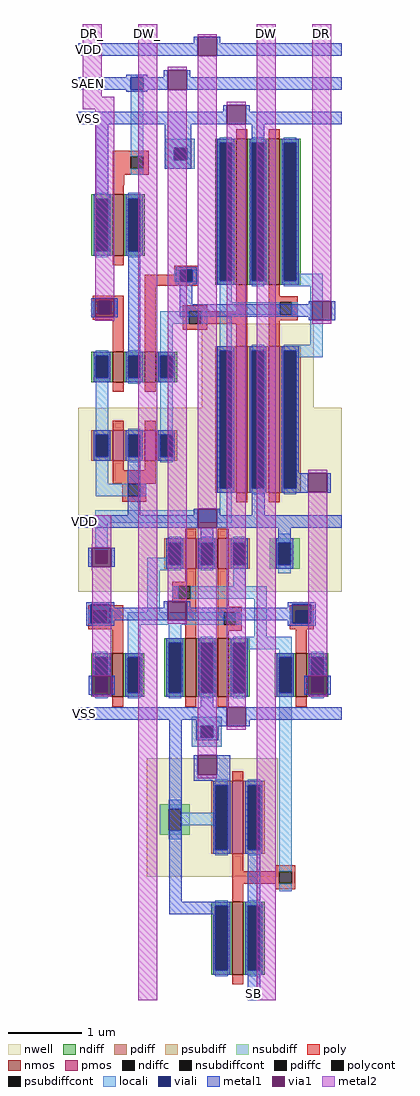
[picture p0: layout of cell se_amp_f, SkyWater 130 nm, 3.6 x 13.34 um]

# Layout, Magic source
magic
tech sky130A
magscale 1 2
<< nwell >>
rect 338 1619 644 1848
rect 0 1116 720 1619
rect 187 337 545 661
<< nmos >>
rect 94 2034 124 2202
rect 432 1954 462 2354
rect 520 1954 550 2354
rect 94 1688 124 1772
rect 182 1688 212 1772
rect 93 828 123 948
rect 293 828 323 988
rect 381 828 411 988
rect 595 828 625 948
rect 421 69 451 269
<< pmos >>
rect 94 1473 124 1557
rect 182 1473 212 1557
rect 432 1386 462 1786
rect 520 1386 550 1786
rect 293 1178 323 1262
rect 381 1178 411 1262
rect 421 399 451 599
<< ndiff >>
rect 374 2342 432 2354
rect 36 2190 94 2202
rect 36 2046 48 2190
rect 82 2046 94 2190
rect 36 2034 94 2046
rect 124 2190 182 2202
rect 124 2046 136 2190
rect 170 2046 182 2190
rect 124 2034 182 2046
rect 374 1966 386 2342
rect 420 1966 432 2342
rect 374 1954 432 1966
rect 462 2342 520 2354
rect 462 1966 474 2342
rect 508 1966 520 2342
rect 462 1954 520 1966
rect 550 2342 608 2354
rect 550 1966 562 2342
rect 596 1966 608 2342
rect 550 1954 608 1966
rect 36 1760 94 1772
rect 36 1700 48 1760
rect 82 1700 94 1760
rect 36 1688 94 1700
rect 124 1760 182 1772
rect 124 1700 136 1760
rect 170 1700 182 1760
rect 124 1688 182 1700
rect 212 1760 270 1772
rect 212 1700 224 1760
rect 258 1700 270 1760
rect 212 1688 270 1700
rect 235 976 293 988
rect 35 936 93 948
rect 35 840 47 936
rect 81 840 93 936
rect 35 828 93 840
rect 123 936 181 948
rect 123 840 135 936
rect 169 840 181 936
rect 123 828 181 840
rect 235 840 247 976
rect 281 840 293 976
rect 235 828 293 840
rect 323 976 381 988
rect 323 840 335 976
rect 369 840 381 976
rect 323 828 381 840
rect 411 976 469 988
rect 411 840 423 976
rect 457 840 469 976
rect 411 828 469 840
rect 537 936 595 948
rect 537 840 549 936
rect 583 840 595 936
rect 537 828 595 840
rect 625 936 683 948
rect 625 840 637 936
rect 671 840 683 936
rect 625 828 683 840
rect 363 257 421 269
rect 363 81 375 257
rect 409 81 421 257
rect 363 69 421 81
rect 451 257 509 269
rect 451 81 463 257
rect 497 81 509 257
rect 451 69 509 81
<< pdiff >>
rect 374 1774 432 1786
rect 36 1545 94 1557
rect 36 1485 48 1545
rect 82 1485 94 1545
rect 36 1473 94 1485
rect 124 1545 182 1557
rect 124 1485 136 1545
rect 170 1485 182 1545
rect 124 1473 182 1485
rect 212 1545 270 1557
rect 212 1485 224 1545
rect 258 1485 270 1545
rect 212 1473 270 1485
rect 374 1398 386 1774
rect 420 1398 432 1774
rect 374 1386 432 1398
rect 462 1774 520 1786
rect 462 1398 474 1774
rect 508 1398 520 1774
rect 462 1386 520 1398
rect 550 1774 608 1786
rect 550 1398 562 1774
rect 596 1398 608 1774
rect 550 1386 608 1398
rect 235 1250 293 1262
rect 235 1190 247 1250
rect 281 1190 293 1250
rect 235 1178 293 1190
rect 323 1250 381 1262
rect 323 1190 335 1250
rect 369 1190 381 1250
rect 323 1178 381 1190
rect 411 1250 469 1262
rect 411 1190 423 1250
rect 457 1190 469 1250
rect 411 1178 469 1190
rect 363 587 421 599
rect 363 411 375 587
rect 409 411 421 587
rect 363 399 421 411
rect 451 587 509 599
rect 451 411 463 587
rect 497 411 509 587
rect 451 399 509 411
<< ndiffc >>
rect 48 2046 82 2190
rect 136 2046 170 2190
rect 386 1966 420 2342
rect 474 1966 508 2342
rect 562 1966 596 2342
rect 48 1700 82 1760
rect 136 1700 170 1760
rect 224 1700 258 1760
rect 47 840 81 936
rect 135 840 169 936
rect 247 840 281 976
rect 335 840 369 976
rect 423 840 457 976
rect 549 840 583 936
rect 637 840 671 936
rect 375 81 409 257
rect 463 81 497 257
<< pdiffc >>
rect 48 1485 82 1545
rect 136 1485 170 1545
rect 224 1485 258 1545
rect 386 1398 420 1774
rect 474 1398 508 1774
rect 562 1398 596 1774
rect 247 1190 281 1250
rect 335 1190 369 1250
rect 423 1190 457 1250
rect 375 411 409 587
rect 463 411 497 587
<< psubdiff >>
rect 237 2329 319 2353
rect 237 2295 262 2329
rect 296 2295 319 2329
rect 237 2271 319 2295
rect 310 750 392 774
rect 310 716 335 750
rect 369 716 392 750
rect 310 692 392 716
<< nsubdiff >>
rect 523 1250 605 1262
rect 523 1190 547 1250
rect 581 1190 605 1250
rect 523 1178 605 1190
rect 223 523 305 535
rect 223 463 247 523
rect 281 463 305 523
rect 223 451 305 463
<< psubdiffcont >>
rect 262 2295 296 2329
rect 335 716 369 750
<< nsubdiffcont >>
rect 547 1190 581 1250
rect 247 463 281 523
<< poly >>
rect 432 2354 462 2380
rect 520 2354 550 2380
rect 94 2305 193 2321
rect 94 2271 143 2305
rect 177 2271 193 2305
rect 94 2255 193 2271
rect 94 2228 125 2255
rect 94 2202 124 2228
rect 94 2008 124 2034
rect 262 1996 328 2007
rect 262 1982 278 1996
rect 182 1962 278 1982
rect 312 1962 328 1996
rect 182 1952 328 1962
rect 39 1909 124 1925
rect 39 1875 55 1909
rect 89 1875 124 1909
rect 39 1859 124 1875
rect 94 1772 124 1859
rect 182 1772 212 1952
rect 286 1882 352 1898
rect 432 1882 462 1954
rect 286 1848 302 1882
rect 336 1848 462 1882
rect 286 1832 352 1848
rect 432 1786 462 1848
rect 520 1923 550 1954
rect 520 1907 600 1923
rect 520 1873 550 1907
rect 584 1873 600 1907
rect 520 1858 600 1873
rect 520 1786 550 1858
rect 94 1662 124 1688
rect 182 1662 212 1688
rect 94 1557 124 1583
rect 182 1557 212 1583
rect 94 1447 124 1473
rect 182 1447 212 1473
rect 94 1411 212 1447
rect 120 1377 136 1411
rect 170 1377 186 1411
rect 120 1361 186 1377
rect 432 1360 462 1386
rect 520 1360 550 1386
rect 293 1262 323 1288
rect 381 1262 411 1288
rect 293 1143 323 1178
rect 257 1131 323 1143
rect 257 1097 273 1131
rect 307 1097 323 1131
rect 257 1086 323 1097
rect 27 1063 123 1079
rect 27 1029 43 1063
rect 77 1029 123 1063
rect 27 1013 123 1029
rect 93 948 123 1013
rect 293 988 323 1086
rect 381 1075 411 1178
rect 381 1060 447 1075
rect 381 1026 397 1060
rect 431 1026 447 1060
rect 381 1009 447 1026
rect 578 1063 644 1079
rect 578 1029 594 1063
rect 628 1029 644 1063
rect 578 1013 644 1029
rect 381 988 411 1009
rect 595 948 625 1013
rect 93 802 123 828
rect 293 802 323 828
rect 381 802 411 828
rect 595 802 625 828
rect 421 599 451 625
rect 421 352 451 399
rect 538 352 593 368
rect 421 318 549 352
rect 583 318 593 352
rect 421 269 451 318
rect 538 302 593 318
rect 421 43 451 69
<< polycont >>
rect 143 2271 177 2305
rect 278 1962 312 1996
rect 55 1875 89 1909
rect 302 1848 336 1882
rect 550 1873 584 1907
rect 136 1377 170 1411
rect 273 1097 307 1131
rect 43 1029 77 1063
rect 397 1026 431 1060
rect 594 1029 628 1063
rect 549 318 583 352
<< locali >>
rect 143 2305 177 2488
rect 237 2329 319 2353
rect 237 2295 262 2329
rect 296 2295 319 2329
rect 237 2271 319 2295
rect 386 2342 420 2358
rect 143 2255 177 2271
rect 48 2190 82 2206
rect 48 2030 82 2046
rect 136 2190 170 2206
rect 136 2030 170 2046
rect 262 1962 278 1996
rect 312 1962 328 1996
rect 39 1875 55 1909
rect 89 1875 105 1909
rect 386 1907 420 1966
rect 474 2342 508 2358
rect 474 1950 508 1966
rect 562 2342 596 2358
rect 596 1966 668 1984
rect 562 1950 668 1966
rect 224 1848 302 1882
rect 336 1848 352 1882
rect 386 1873 550 1907
rect 584 1873 600 1907
rect 48 1760 82 1776
rect 48 1545 82 1700
rect 136 1760 170 1776
rect 136 1684 170 1700
rect 224 1760 258 1848
rect 48 1411 82 1485
rect 136 1545 170 1561
rect 136 1469 170 1485
rect 224 1545 258 1700
rect 224 1469 258 1485
rect 386 1774 420 1873
rect 634 1791 668 1950
rect 48 1377 136 1411
rect 170 1377 186 1411
rect 386 1338 420 1398
rect 474 1774 508 1790
rect 474 1382 508 1398
rect 562 1774 668 1791
rect 596 1757 668 1774
rect 562 1382 596 1398
rect 46 1304 420 1338
rect 46 1227 80 1304
rect 247 1250 281 1266
rect 189 1190 247 1208
rect 189 1174 281 1190
rect 335 1250 369 1266
rect 335 1174 369 1190
rect 423 1250 457 1266
rect 27 1029 34 1063
rect 86 1029 93 1063
rect 189 1060 223 1174
rect 423 1131 457 1190
rect 547 1250 581 1274
rect 547 1166 581 1190
rect 257 1097 273 1131
rect 307 1097 515 1131
rect 135 1026 397 1060
rect 431 1026 447 1060
rect 47 936 81 952
rect 47 824 81 840
rect 135 936 169 1026
rect 135 824 169 840
rect 247 976 281 1026
rect 481 992 515 1097
rect 578 1029 585 1063
rect 637 1029 644 1063
rect 247 824 281 840
rect 335 976 369 992
rect 335 824 369 840
rect 423 976 583 992
rect 457 958 583 976
rect 423 824 457 840
rect 549 936 583 958
rect 310 750 392 774
rect 310 716 335 750
rect 369 716 392 750
rect 310 692 392 716
rect 375 587 409 603
rect 247 523 281 547
rect 281 477 375 511
rect 247 439 281 463
rect 375 395 409 411
rect 463 587 497 603
rect 463 395 497 411
rect 549 352 583 840
rect 637 936 671 952
rect 637 824 671 840
rect 549 297 583 318
rect 375 257 409 273
rect 375 65 409 81
rect 463 257 497 273
rect 463 65 497 81
<< viali >>
rect 143 2488 177 2522
rect 262 2295 296 2329
rect 48 2046 82 2190
rect 136 2046 170 2190
rect 278 1962 312 1996
rect 386 1966 420 2342
rect 55 1875 89 1909
rect 474 1966 508 2342
rect 562 1966 596 2342
rect 48 1700 82 1760
rect 136 1700 170 1760
rect 224 1700 258 1760
rect 48 1485 82 1545
rect 136 1485 170 1545
rect 224 1485 258 1545
rect 386 1398 420 1774
rect 474 1398 508 1774
rect 562 1398 596 1774
rect 46 1193 80 1227
rect 247 1190 281 1250
rect 335 1190 369 1250
rect 423 1190 457 1250
rect 34 1063 86 1081
rect 34 1029 43 1063
rect 43 1029 77 1063
rect 77 1029 86 1063
rect 547 1190 581 1250
rect 47 840 81 936
rect 135 840 169 936
rect 585 1063 637 1081
rect 585 1029 594 1063
rect 594 1029 628 1063
rect 628 1029 637 1063
rect 247 840 281 976
rect 335 840 369 976
rect 423 840 457 976
rect 549 840 583 936
rect 335 716 369 750
rect 375 411 409 587
rect 463 411 497 587
rect 637 840 671 936
rect 375 81 409 257
rect 463 81 497 257
<< metal1 >>
rect 316 2614 326 2632
rect 0 2580 326 2614
rect 378 2614 388 2632
rect 378 2580 720 2614
rect 131 2522 189 2528
rect 234 2522 244 2540
rect 0 2488 143 2522
rect 177 2488 244 2522
rect 296 2522 306 2540
rect 296 2488 720 2522
rect 131 2482 189 2488
rect 396 2427 406 2445
rect 0 2393 406 2427
rect 458 2427 468 2445
rect 458 2393 720 2427
rect 48 2202 82 2393
rect 237 2329 309 2393
rect 474 2354 508 2393
rect 237 2295 262 2329
rect 296 2295 309 2329
rect 237 2271 309 2295
rect 380 2342 426 2354
rect 42 2190 88 2202
rect 42 2046 48 2190
rect 82 2046 88 2190
rect 42 2034 88 2046
rect 130 2190 176 2202
rect 130 2046 136 2190
rect 170 2046 176 2190
rect 130 2034 176 2046
rect 36 1866 46 1918
rect 98 1866 108 1918
rect 136 1772 170 2034
rect 266 1996 324 2002
rect 266 1962 278 1996
rect 312 1962 324 1996
rect 266 1956 324 1962
rect 380 1966 386 2342
rect 420 1966 426 2342
rect 278 1901 312 1956
rect 380 1954 426 1966
rect 468 2342 514 2354
rect 468 1966 474 2342
rect 508 1966 514 2342
rect 468 1954 514 1966
rect 556 2342 602 2354
rect 556 1966 562 2342
rect 596 1966 602 2342
rect 556 1954 602 1966
rect 630 1901 640 1910
rect 278 1867 640 1901
rect 630 1858 640 1867
rect 692 1858 702 1910
rect 380 1774 426 1786
rect 42 1760 88 1772
rect 42 1700 48 1760
rect 82 1700 88 1760
rect 42 1688 88 1700
rect 130 1760 176 1772
rect 130 1700 136 1760
rect 170 1700 176 1760
rect 130 1688 176 1700
rect 218 1760 264 1772
rect 218 1700 224 1760
rect 258 1700 264 1760
rect 218 1688 264 1700
rect 42 1545 88 1557
rect 42 1485 48 1545
rect 82 1485 88 1545
rect 42 1473 88 1485
rect 130 1545 176 1557
rect 130 1485 136 1545
rect 170 1485 176 1545
rect 130 1473 176 1485
rect 218 1545 264 1557
rect 218 1485 224 1545
rect 258 1485 264 1545
rect 218 1473 264 1485
rect 135 1324 170 1473
rect 380 1398 386 1774
rect 420 1398 426 1774
rect 380 1386 426 1398
rect 468 1774 514 1786
rect 468 1398 474 1774
rect 508 1398 514 1774
rect 468 1386 514 1398
rect 556 1774 602 1786
rect 556 1398 562 1774
rect 596 1439 602 1774
rect 596 1398 628 1439
rect 556 1387 628 1398
rect 680 1387 690 1439
rect 556 1386 690 1387
rect 316 1324 326 1342
rect 0 1290 326 1324
rect 378 1324 388 1342
rect 474 1324 509 1386
rect 378 1290 720 1324
rect 335 1262 369 1290
rect 547 1262 581 1290
rect 241 1250 287 1262
rect 27 1184 37 1236
rect 90 1184 100 1236
rect 241 1190 247 1250
rect 281 1190 287 1250
rect 241 1178 287 1190
rect 329 1250 375 1262
rect 329 1190 335 1250
rect 369 1190 375 1250
rect 329 1178 375 1190
rect 417 1250 463 1262
rect 417 1190 423 1250
rect 457 1190 463 1250
rect 417 1178 463 1190
rect 541 1250 587 1262
rect 541 1190 547 1250
rect 581 1190 587 1250
rect 541 1178 587 1190
rect 22 1081 98 1087
rect 22 1029 34 1081
rect 86 1072 98 1081
rect 234 1072 244 1090
rect 86 1038 244 1072
rect 296 1072 306 1090
rect 573 1081 649 1087
rect 573 1072 585 1081
rect 296 1038 585 1072
rect 86 1029 98 1038
rect 22 1023 98 1029
rect 573 1029 585 1038
rect 637 1029 649 1081
rect 573 1023 649 1029
rect 241 976 287 988
rect 41 936 87 948
rect 41 886 47 936
rect 81 886 87 936
rect 129 936 175 948
rect 28 834 38 886
rect 90 834 100 886
rect 129 840 135 936
rect 169 840 175 936
rect 41 828 87 834
rect 129 828 175 840
rect 241 840 247 976
rect 281 840 287 976
rect 241 828 287 840
rect 329 976 375 988
rect 329 840 335 976
rect 369 840 375 976
rect 329 828 375 840
rect 417 976 463 988
rect 417 840 423 976
rect 457 840 463 976
rect 417 828 463 840
rect 543 936 589 948
rect 543 840 549 936
rect 583 840 589 936
rect 631 936 677 948
rect 631 886 637 936
rect 671 886 677 936
rect 543 828 589 840
rect 618 834 628 886
rect 680 834 690 886
rect 631 828 677 834
rect 335 800 369 828
rect 0 766 406 800
rect 249 269 283 766
rect 323 750 406 766
rect 323 716 335 750
rect 369 748 406 750
rect 458 766 720 800
rect 458 748 468 766
rect 369 716 382 748
rect 323 711 382 716
rect 323 710 381 711
rect 316 616 326 669
rect 378 616 415 669
rect 316 599 415 616
rect 369 587 415 599
rect 369 411 375 587
rect 409 411 415 587
rect 369 399 415 411
rect 457 587 503 599
rect 457 411 463 587
rect 497 411 503 587
rect 457 399 503 411
rect 463 269 497 399
rect 249 257 415 269
rect 249 235 375 257
rect 369 81 375 235
rect 409 81 415 257
rect 369 69 415 81
rect 457 257 503 269
rect 457 81 463 257
rect 497 81 503 257
rect 457 69 503 81
rect 463 0 497 69
<< via1 >>
rect 326 2580 378 2632
rect 244 2488 296 2540
rect 406 2393 458 2445
rect 46 1909 98 1918
rect 46 1875 55 1909
rect 55 1875 89 1909
rect 89 1875 98 1909
rect 46 1866 98 1875
rect 640 1858 692 1910
rect 628 1387 680 1439
rect 326 1290 378 1342
rect 37 1227 90 1236
rect 37 1193 46 1227
rect 46 1193 80 1227
rect 80 1193 90 1227
rect 37 1184 90 1193
rect 244 1038 296 1090
rect 38 840 47 886
rect 47 840 81 886
rect 81 840 90 886
rect 38 834 90 840
rect 628 840 637 886
rect 637 840 671 886
rect 671 840 680 886
rect 628 834 680 840
rect 406 748 458 800
rect 326 616 378 669
<< metal2 >>
rect 12 2468 64 2666
rect 12 2434 98 2468
rect 46 1918 98 2434
rect 46 1856 98 1866
rect 38 1246 90 1324
rect 37 1236 90 1246
rect 37 1174 90 1184
rect 38 886 90 1174
rect 38 828 90 834
rect 164 0 216 2666
rect 326 2632 378 2639
rect 244 2540 296 2550
rect 244 1090 296 2488
rect 244 1028 296 1038
rect 326 1342 378 2580
rect 326 669 378 1290
rect 406 2445 458 2455
rect 406 800 458 2393
rect 406 738 458 748
rect 326 606 378 616
rect 488 0 540 2667
rect 640 1910 692 2666
rect 640 1848 692 1858
rect 628 1439 680 1449
rect 628 886 680 1387
rect 628 828 680 834
<< labels >>
rlabel metal2 12 2614 64 2666 0 DR_
rlabel metal2 164 2614 216 2666 0 DW_
rlabel metal2 488 2615 540 2667 0 DW
rlabel metal2 640 2614 692 2666 0 DR
rlabel metal1 12 2580 46 2614 0 VDD
rlabel metal1 12 2488 46 2522 0 SAEN
rlabel metal1 12 2393 46 2427 0 VSS
rlabel metal1 463 0 497 34 0 SB
rlabel metal1 0 1290 34 1324 0 VDD
rlabel metal1 0 766 34 800 0 VSS
<< end >>
